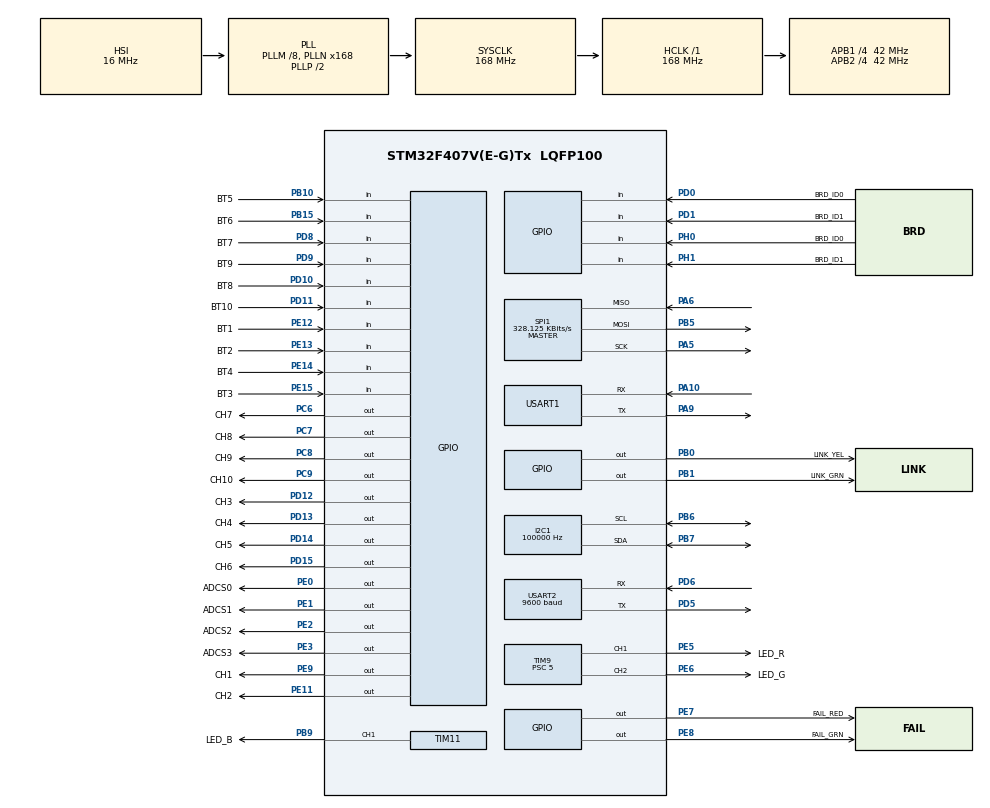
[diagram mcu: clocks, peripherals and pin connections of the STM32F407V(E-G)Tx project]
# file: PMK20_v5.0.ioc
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Dma.I2C1_RX.3.Direction=DMA_PERIPH_TO_MEMORY
Dma.I2C1_RX.3.FIFOMode=DMA_FIFOMODE_DISABLE
Dma.I2C1_RX.3.Instance=DMA1_Stream0
Dma.I2C1_RX.3.MemDataAlignment=DMA_MDATAALIGN_BYTE
Dma.I2C1_RX.3.MemInc=DMA_MINC_ENABLE
Dma.I2C1_RX.3.Mode=DMA_NORMAL
Dma.I2C1_RX.3.PeriphDataAlignment=DMA_PDATAALIGN_BYTE
Dma.I2C1_RX.3.PeriphInc=DMA_PINC_DISABLE
Dma.I2C1_RX.3.Priority=DMA_PRIORITY_HIGH
Dma.I2C1_TX.2.Direction=DMA_MEMORY_TO_PERIPH
Dma.I2C1_TX.2.FIFOMode=DMA_FIFOMODE_DISABLE
Dma.I2C1_TX.2.Instance=DMA1_Stream7
Dma.I2C1_TX.2.MemDataAlignment=DMA_MDATAALIGN_BYTE
Dma.I2C1_TX.2.MemInc=DMA_MINC_ENABLE
Dma.I2C1_TX.2.Mode=DMA_NORMAL
Dma.I2C1_TX.2.PeriphDataAlignment=DMA_PDATAALIGN_BYTE
Dma.I2C1_TX.2.PeriphInc=DMA_PINC_DISABLE
Dma.I2C1_TX.2.Priority=DMA_PRIORITY_HIGH
Dma.Request0=USART2_RX
Dma.Request1=USART2_TX
Dma.Request2=I2C1_TX
Dma.Request3=I2C1_RX
Dma.USART2_RX.0.Direction=DMA_PERIPH_TO_MEMORY
Dma.USART2_RX.0.FIFOMode=DMA_FIFOMODE_DISABLE
Dma.USART2_RX.0.Instance=DMA1_Stream5
Dma.USART2_RX.0.MemDataAlignment=DMA_MDATAALIGN_BYTE
Dma.USART2_RX.0.MemInc=DMA_MINC_ENABLE
Dma.USART2_RX.0.Mode=DMA_NORMAL
Dma.USART2_RX.0.PeriphDataAlignment=DMA_PDATAALIGN_BYTE
Dma.USART2_RX.0.PeriphInc=DMA_PINC_DISABLE
Dma.USART2_RX.0.Priority=DMA_PRIORITY_LOW
Dma.USART2_TX.1.Direction=DMA_MEMORY_TO_PERIPH
Dma.USART2_TX.1.FIFOMode=DMA_FIFOMODE_DISABLE
Dma.USART2_TX.1.Instance=DMA1_Stream6
Dma.USART2_TX.1.MemDataAlignment=DMA_MDATAALIGN_BYTE
Dma.USART2_TX.1.MemInc=DMA_MINC_ENABLE
Dma.USART2_TX.1.Mode=DMA_NORMAL
Dma.USART2_TX.1.PeriphDataAlignment=DMA_PDATAALIGN_BYTE
Dma.USART2_TX.1.PeriphInc=DMA_PINC_DISABLE
Dma.USART2_TX.1.Priority=DMA_PRIORITY_LOW
I2C1.ClockSpeed=100000
I2C1.GeneralCallMode=I2C_GENERALCALL_DISABLE
I2C1.NoStretchMode=I2C_NOSTRETCH_DISABLE
I2C1.OwnAddress=0x01
IWDG.Prescaler=IWDG_PRESCALER_256
IWDG.Reload=0xfff
Mcu.Family=STM32F4
Mcu.Name=STM32F407V(E-G)Tx
Mcu.Package=LQFP100
NVIC.DMA1_Stream0_IRQn=true\:0\:0\:false\:false\:true\:false\:true\:true
NVIC.DMA1_Stream5_IRQn=true\:0\:0\:false\:false\:true\:false\:true\:true
NVIC.DMA1_Stream6_IRQn=true\:0\:0\:false\:false\:true\:false\:true\:true
NVIC.DMA1_Stream7_IRQn=true\:0\:0\:false\:false\:true\:false\:true\:true
NVIC.I2C1_ER_IRQn=true\:0\:0\:false\:false\:true\:true\:true\:true
NVIC.I2C1_EV_IRQn=true\:0\:0\:false\:false\:true\:true\:true\:true
NVIC.PriorityGroup=NVIC_PRIORITYGROUP_4
NVIC.TIM1_CC_IRQn=true\:2\:0\:true\:false\:true\:true\:true\:true
NVIC.TIM1_UP_TIM10_IRQn=true\:2\:0\:true\:false\:true\:true\:true\:true
NVIC.TIM6_DAC_IRQn=true\:0\:0\:false\:false\:true\:true\:true\:true
NVIC.TIM7_IRQn=true\:0\:0\:false\:false\:true\:true\:true\:true
NVIC.TIM8_TRG_COM_TIM14_IRQn=true\:2\:0\:true\:false\:true\:true\:true\:true
NVIC.USART2_IRQn=true\:0\:0\:false\:false\:true\:true\:true\:true
PA10.GPIO_PuPd=GPIO_PULLUP
PA10.GPIO_Speed=GPIO_SPEED_FREQ_HIGH
PA10.Mode=Asynchronous
PA10.Signal=USART1_RX
PA13.Mode=Trace_Asynchronous_SW
PA13.Signal=SYS_JTMS-SWDIO
PA14.Mode=Trace_Asynchronous_SW
PA14.Signal=SYS_JTCK-SWCLK
PA5.Mode=Full_Duplex_Master
PA5.Signal=SPI1_SCK
PA6.Mode=Full_Duplex_Master
PA6.Signal=SPI1_MISO
PA9.GPIO_PuPd=GPIO_PULLUP
PA9.GPIO_Speed=GPIO_SPEED_FREQ_HIGH
PA9.Mode=Asynchronous
PA9.Signal=USART1_TX
PB0.GPIO_Label=LINK_YEL
PB0.GPIO_Speed=GPIO_SPEED_FREQ_VERY_HIGH
PB0.Signal=GPIO_Output
PB1.GPIO_Label=LINK_GRN
PB1.GPIO_Speed=GPIO_SPEED_FREQ_VERY_HIGH
PB1.Signal=GPIO_Output
PB10.GPIO_Label=BT5
PB10.Signal=GPIO_Input
PB15.GPIO_Label=BT6
PB15.Signal=GPIO_Input
PB3.Mode=Trace_Asynchronous_SW
PB3.Signal=SYS_JTDO-SWO
PB5.Mode=Full_Duplex_Master
PB5.Signal=SPI1_MOSI
PB6.GPIO_Pu=GPIO_NOPULL
PB6.Mode=I2C
PB6.Signal=I2C1_SCL
PB7.GPIO_Pu=GPIO_NOPULL
PB7.Mode=I2C
PB7.Signal=I2C1_SDA
PB9.GPIO_Label=LED_B
PB9.GPIO_ModeDefaultPP=GPIO_MODE_AF_OD
PB9.GPIO_Speed=GPIO_SPEED_FREQ_MEDIUM
PB9.Signal=S_TIM11_CH1
PC6.GPIO_Label=CH7
PC6.Signal=GPIO_Output
PC7.GPIO_Label=CH8
PC7.Signal=GPIO_Output
PC8.GPIO_Label=CH9
PC8.Signal=GPIO_Output
PC9.GPIO_Label=CH10
PC9.Signal=GPIO_Output
PD0.GPIO_Label=BRD_ID0
PD0.GPIO_PuPd=GPIO_NOPULL
PD0.Signal=GPIO_Input
PD1.GPIO_Label=BRD_ID1
PD1.GPIO_PuPd=GPIO_NOPULL
PD1.Signal=GPIO_Input
PD10.GPIO_Label=BT8
PD10.Signal=GPIO_Input
PD11.GPIO_Label=BT10
PD11.Signal=GPIO_Input
PD12.GPIO_Label=CH3
PD12.Signal=GPIO_Output
PD13.GPIO_Label=CH4
PD13.Signal=GPIO_Output
PD14.GPIO_Label=CH5
PD14.Signal=GPIO_Output
PD15.GPIO_Label=CH6
PD15.Signal=GPIO_Output
PD5.GPIO_PuPd=GPIO_PULLDOWN
PD5.Mode=Asynchronous
PD5.Signal=USART2_TX
PD6.GPIO_PuPd=GPIO_PULLDOWN
PD6.Mode=Asynchronous
PD6.Signal=USART2_RX
PD8.GPIO_Label=BT7
PD8.Signal=GPIO_Input
PD9.GPIO_Label=BT9
PD9.Signal=GPIO_Input
PE0.GPIO_Label=ADCS0
PE0.GPIO_PuPd=GPIO_PULLUP
PE0.Signal=GPIO_Output
PE1.GPIO_Label=ADCS1
PE1.GPIO_PuPd=GPIO_PULLUP
PE1.Signal=GPIO_Output
PE11.GPIO_Label=CH2
PE11.Signal=GPIO_Output
PE12.GPIO_Label=BT1
PE12.GPIO_PuPd=GPIO_PULLDOWN
PE12.Signal=GPIO_Input
PE13.GPIO_Label=BT2
PE13.GPIO_PuPd=GPIO_PULLDOWN
PE13.Signal=GPIO_Input
PE14.GPIO_Label=BT4
PE14.GPIO_PuPd=GPIO_PULLDOWN
PE14.Signal=GPIO_Input
PE15.GPIO_Label=BT3
PE15.GPIO_PuPd=GPIO_PULLDOWN
PE15.Signal=GPIO_Input
PE2.GPIO_Label=ADCS2
PE2.GPIO_PuPd=GPIO_PULLUP
PE2.Signal=GPIO_Output
PE3.GPIO_Label=ADCS3
PE3.GPIO_PuPd=GPIO_PULLUP
PE3.Signal=GPIO_Output
PE5.GPIO_Label=LED_R
PE5.GPIO_ModeDefaultPP=GPIO_MODE_AF_OD
PE5.GPIO_Speed=GPIO_SPEED_FREQ_MEDIUM
PE5.Signal=S_TIM9_CH1
PE6.GPIO_Label=LED_G
PE6.GPIO_ModeDefaultPP=GPIO_MODE_AF_OD
PE6.GPIO_Speed=GPIO_SPEED_FREQ_MEDIUM
PE6.Signal=S_TIM9_CH2
PE7.GPIO_Label=FAIL_RED
PE7.GPIO_PuPd=GPIO_PULLDOWN
PE7.GPIO_Speed=GPIO_SPEED_FREQ_LOW
PE7.Signal=GPIO_Output
PE8.GPIO_Label=FAIL_GRN
PE8.GPIO_PuPd=GPIO_PULLDOWN
PE8.GPIO_Speed=GPIO_SPEED_FREQ_LOW
PE8.Signal=GPIO_Output
PE9.GPIO_Label=CH1
PE9.Signal=GPIO_Output
PH0-OSC_IN.GPIO_Label=BRD_ID0
PH0-OSC_IN.Signal=GPIO_Input
PH1-OSC_OUT.GPIO_Label=BRD_ID1
PH1-OSC_OUT.Signal=GPIO_Input
ProjectManager.HeapSize=0x200
ProjectManager.StackSize=0x400
ProjectManager.TargetToolchain=MDK-ARM V5.32
RCC.48MHZClocksFreq_Value=84000000
RCC.AHBFreq_Value=168000000
RCC.APB1CLKDivider=RCC_HCLK_DIV4
RCC.APB1Freq_Value=42000000
RCC.APB1TimFreq_Value=84000000
RCC.APB2CLKDivider=RCC_HCLK_DIV4
RCC.APB2Freq_Value=42000000
RCC.APB2TimFreq_Value=84000000
RCC.CortexFreq_Value=168000000
RCC.HCLKFreq_Value=168000000
RCC.HSE_VALUE=25000000
RCC.HSI_VALUE=16000000
RCC.LSE_VALUE=32768
RCC.PLLM=8
RCC.PLLN=168
RCC.SYSCLKFreq_VALUE=168000000
RCC.SYSCLKSource=RCC_SYSCLKSOURCE_PLLCLK
RCC.VCOOutputFreq_Value=336000000
SH.S_TIM11_CH1.0=TIM11_CH1,PWM Generation1 CH1
SH.S_TIM9_CH1.0=TIM9_CH1,PWM Generation1 CH1
SH.S_TIM9_CH2.0=TIM9_CH2,PWM Generation2 CH2
SPI1.BaudRatePrescaler=SPI_BAUDRATEPRESCALER_128
SPI1.CalculateBaudRate=328.125 KBits/s
SPI1.Direction=SPI_DIRECTION_2LINES
SPI1.Mode=SPI_MODE_MASTER
SPI1.VirtualType=VM_MASTER
TIM1.Channel-Output\ Compare1\ No\ Output=TIM_CHANNEL_1
TIM1.Period=12799
TIM1.Prescaler=5
TIM10.Period=2625
TIM10.Prescaler=15
TIM11.Channel=TIM_CHANNEL_1
TIM11.OCPolarity_1=TIM_OCPOLARITY_LOW
TIM11.Period=255
TIM11.Prescaler=5
TIM14.Period=52500
TIM14.Prescaler=15
TIM6.Period=5250
TIM6.Prescaler=15
TIM7.Period=80
TIM7.Prescaler=1600
TIM9.Channel-PWM\ Generation1\ CH1=TIM_CHANNEL_1
TIM9.Channel-PWM\ Generation2\ CH2=TIM_CHANNEL_2
TIM9.OCPolarity_1=TIM_OCPOLARITY_LOW
TIM9.OCPolarity_2=TIM_OCPOLARITY_LOW
TIM9.Period=255
TIM9.Prescaler=5
USART1.VirtualMode=VM_ASYNC
USART2.BaudRate=9600
USART2.VirtualMode=VM_ASYNC
VP_CRC_VS_CRC.Mode=CRC_Activate
VP_IWDG_VS_IWDG.Mode=IWDG_Activate
VP_TIM10_VS_ClockSourceINT.Mode=Enable_Timer
VP_TIM11_VS_ClockSourceINT.Mode=Enable_Timer
VP_TIM14_VS_ClockSourceINT.Mode=Enable_Timer
VP_TIM1_VS_no_output1.Mode=Output Compare1 No Output
VP_TIM6_VS_ClockSourceINT.Mode=Enable_Timer
VP_TIM7_VS_ClockSourceINT.Mode=Enable_Timer
board=custom

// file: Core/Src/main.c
/* USER CODE BEGIN Header */
/**
  ******************************************************************************
  * @file           : main.c
  * @brief          : Main program body
  ******************************************************************************
  * @attention
  *
  * Copyright (c) 2023 STMicroelectronics.
  * All rights reserved.
  *
  * This software is licensed under terms that can be found in the LICENSE file
  * in the root directory of this software component.
  * If no LICENSE file comes with this software, it is provided AS-IS.
  *
  ******************************************************************************
  */
/* USER CODE END Header */
#include "main.h"

/* USER CODE BEGIN Includes */
#include "MY_FLASH.h"
#include "MD_5.h"
#include "string.h"
/* USER CODE END Includes */

/* USER CODE BEGIN PTD */
 uint16_t current = 0; // счетчик
 uint8_t rer[100];
 uint8_t arr[168];
 uint8_t mbInput[16]; // Массив входных данных modbus
 uint8_t lenMBrx;
 uint8_t mbAddr;
 uint8_t i2cAddr;
 uint16_t crcTx;
 _Bool arrBool[0x400];
	_Bool arrBoolTemp[100];
	uint16_t arrWord[0x400];
	uint16_t arrWord_minus[0x400];
	uint16_t arrWordBipol[0x400];
	_Bool arrBoolBipol[0x400];
 _Bool uartTx;
  _Bool sem; // сигнал о том что посылка modbud принята без ошибок.
  _Bool blockMode; // блокировка записи по modbus в режиме местного упрвления
  _Bool semF; //  посылка по модбасу принята
	uint8_t timePush_Test;
	uint8_t timePush_Test_N;
	_Bool set_set[10]; // запись уставок по первому сигналу
	uint16_t setPoint[100];
	//MODE
//	uint8_t mode;// test
uint8_t PMU_Mode;
int16_t blink; // для выбора режима упрвления мигание
 _chlMode cTime[10]; // переменная для определения времени нажатия кнопок каждого канала
  uint8_t chMode[10]; // режим мониторинга кабеля
	uint8_t chModeTemp[10];// заглушка
	// CPU ID
	long itr00;
	volatile uint32_t *UniqueID = (uint32_t *)0x1FFF7A10;
	volatile uint32_t __UniqueID[3];
	volatile extern uint8_t test_Status;
	uint16_t errorCounter;
	_Bool ttr = 0; // Блокировка при записи в Флеш память
		HAL_StatusTypeDef RTF; // test i2c
		HAL_StatusTypeDef WTF; // test i2c
		_Bool slaveWrData;
		_Bool slaveRdData;
		 int iik;
		uint8_t arrI2c_R[12];

		_Bool i2c_rd = 0;
		_Bool i2c_td = 0;
		uint32_t lanTimer = 0;
		uint8_t hvAllarm = 0;

		uint8_t lanCurr;// cтетчик для индикации работы сети
		_Bool lanLed; // индикатор работы сети ?
		uint16_t lanTemer;
		uint32_t rlanTest;
		_Bool blanTest;

		_Bool stMbAdd[2];

		uint8_t EON_off =1; // когда напряжение смещени 100 В должно быть снято
		_Bool pauseEon;
		_Bool pauseEonM;
		int i_Eon = 0;
		uint8_t modeEon =0;
		uint16_t delayEon = 900;
		uint8_t readyEon;
//		uint8_t modeEon;
		uint8_t timeModeEon = 0;
		_Bool startLokal = 0;
		uint8_t statusMb;
		uint8_t alarm_mes =0;

		float callR[10];
		float tempSet[10];

		// синхронизация I2c с записью флеш памяти
		uint8_t sinM; //
		uint8_t sinT; //
		uint8_t sinR; //
		uint8_t changSetP[10] = {0,0,0,0,0,0,0,0,0,0};
//	uint16_t currentTime; // переменная для выдержки 30 сек не нажата ни одна кнопка
GPIO switch_gpio[10] = {
	{ BT1_GPIO_Port, BT1_Pin },
	{ BT2_GPIO_Port, BT2_Pin },
	{ BT3_GPIO_Port, BT3_Pin },
	{ BT4_GPIO_Port, BT4_Pin },
	{ BT5_GPIO_Port, BT5_Pin },
	{ BT6_GPIO_Port, BT6_Pin },
	{ BT7_GPIO_Port, BT7_Pin },
	{ BT8_GPIO_Port, BT8_Pin },
	{ BT9_GPIO_Port, BT9_Pin },
	{ BT10_GPIO_Port, BT10_Pin }
};

	//plus
uint8_t adc_current =0;
	uint32_t adc_delay = 150;//120;//500; //
	uint32_t  led_rgb[10] = {0, 0, 0, 0, 0, 0, 0, 0, 0, 0};
	float RZ[4];
	int CC; // TEST
	int currentPB =0; //  селекция нажатия кнопки push_Button
	// Flash
		uint8_t data[64];    // test
    uint16_t res[400];		// test
	// monitor CH
	uint8_t ch_monitor[10] = {0, 0, 0, 0, 0, 0, 0, 0, 0, 0};
	int ideley=0;
	int kdeley=0;
	uint8_t tempCh[10];
	_Bool startSett; //  считывание при старте
	//For Skada

	char mBuffer[65535];

	// Ошибка платы
	_Bool pmkError;
	uint16_t adc_Status; // Состояние АЦП

	//gpio
	// md5
	uint32_t CCRC;
	char md5sum;
	char ccrrc;

	uint8_t arrI2c_T[12];

	uint32_t SetEEprom;
	_Bool LoadNumDev;
	struct I2C_Module i2cm;
/* USER CODE END PTD */

CRC_HandleTypeDef hcrc;

I2C_HandleTypeDef hi2c1;
DMA_HandleTypeDef hdma_i2c1_tx;
DMA_HandleTypeDef hdma_i2c1_rx;

IWDG_HandleTypeDef hiwdg;

SPI_HandleTypeDef hspi1;

TIM_HandleTypeDef htim1;
TIM_HandleTypeDef htim6;
TIM_HandleTypeDef htim7;
TIM_HandleTypeDef htim9;
TIM_HandleTypeDef htim10;
TIM_HandleTypeDef htim11;
TIM_HandleTypeDef htim14;

UART_HandleTypeDef huart1;
UART_HandleTypeDef huart2;
DMA_HandleTypeDef hdma_usart2_rx;
DMA_HandleTypeDef hdma_usart2_tx;

void SystemClock_Config(void);
static void MX_GPIO_Init(void);
static void MX_DMA_Init(void);
static void MX_USART2_UART_Init(void);
static void MX_TIM7_Init(void);
static void MX_SPI1_Init(void);
static void MX_TIM9_Init(void);
static void MX_TIM11_Init(void);
static void MX_USART1_UART_Init(void);
static void MX_TIM6_Init(void);
static void MX_TIM1_Init(void);
static void MX_TIM10_Init(void);
static void MX_TIM14_Init(void);
static void MX_CRC_Init(void);
static void MX_I2C1_Init(void);
static void MX_IWDG_Init(void);
/* USER CODE BEGIN PFP */

void HAL_I2C_SlaveTxCpltCallback(I2C_HandleTypeDef *hi2c)
{

//		HAL_IWDG_Refresh(&hiwdg);

		slaveWrData = 0;

//							for (int i=0; i<1000; i++){__ASM("nop");}
							if(sinM ==0)
							{

									RTF = HAL_I2C_Slave_Receive_DMA(&hi2c1, arrI2c_R,12);
									for (int i=0; i<100; i++){__ASM("nop");}

									arrWord[110] = arrI2c_R[1]<<8	| arrI2c_R[2];
									arrWord[111] = arrI2c_R[3]<<8	| arrI2c_R[4];

									if(arrI2c_R[5] == 0xF0){arrWord[114]=0x01FF;}
									else if (arrI2c_R[5] == 0x0F){arrWord[114]=0x05;}
		//							arrWord[114] = arrI2c_R[5]; //<<8	| arrI2c_R[6];
							}
							else
							{
								sinR = 1;
							}
}
void HAL_I2C_SlaveRxCpltCallback(I2C_HandleTypeDef *hi2c)
{

		slaveRdData = 0;

}

void HAL_UART_RxCpltCallback(UART_HandleTypeDef *huart)
{

    if ((huart == &huart2)&(!semF))
    {

		// обработка модбас
     HAL_UART_Receive_DMA(&huart2,(uint8_t*) &rer,1);
    }
  /* Prevent unused argument(s) compilation warning */
  UNUSED(huart);
  /* NOTE: This function should not be modified, when the callback is needed,
           the HAL_UART_RxCpltCallback could be implemented in the user file
   */
};
void HAL_UART_ErrorCallback(UART_HandleTypeDef *huart)
{
		HAL_UART_Receive_DMA(&huart2,(uint8_t*) &rer,1); // Перезапуск при ошибке
}
/* USER CODE END PFP */

int main(void)
{
  /* USER CODE BEGIN 1 */
	i2cm.instance = hi2c1;
	i2cm.sclPin = GPIO_PIN_10;
	i2cm.sclPort = GPIOB;
	i2cm.sdaPin = GPIO_PIN_11;
	i2cm.sdaPort = GPIOB;

		uint8_t tbyte;
		uint64_t flas_length = 0;
		_Bool flas_count = 0;
		uint8_t ff_count =0;

//		tbyte =	*(uint8_t*)0x8000000; // прочитать байты;
	char buffer2[9];
	char md5Vstart;		//[flas_length>>1];
	uint32_t md5Vfinish;    //[flas_length>>1];

//    mbAddr=0x01;
    startSett = 0;
	  MY_FLASH_SetSectorAddrs(11, 0x080E0000);
//    uint8_t data[2048-8];
//    data[0]=0xA5;//serial_number[0];//0x10;
//    data[1]=0xA6;//serial_number[1];//0x34;

/****** Работа с FLASH *****/
	//предустановки

	//Проверяем flash

	 MY_FLASH_ReadN(0,res,400,DATA_TYPE_16);

	if (res[0] != 0xffff)
	{
		MY_FLASH_ReadN (0, arrWord, 400, DATA_TYPE_16);
	}
//    MY_FLASH_WriteN(0,arrWord,40,DATA_TYPE_16); // Запись
//    MY_FLASH_ReadN(0,res,8,DATA_TYPE_8);
	arrBool[20]=1; arrBool[21]=1; arrBool[22]=1;arrBool[23]=1;arrBool[24]=1; arrBool[25]=1; arrBool[26]=1; arrBool[27]=1; arrBool[28]=1; arrBool[29]=1;
  arrBool[30]=1; arrBool[31]=1; arrBool[32]=1;arrBool[33]=1;arrBool[34]=1; arrBool[35]=1; arrBool[36]=1; arrBool[37]=1; arrBool[38]=1; arrBool[39]=1;
	arrBool[40]=1; arrBool[41]=1; arrBool[42]=1;arrBool[43]=1;arrBool[44]=1; arrBool[45]=1; arrBool[46]=1; arrBool[47]=1; arrBool[48]=1; arrBool[49]=1;
	arrBool[50]=1; arrBool[51]=1; arrBool[52]=1;arrBool[53]=1;arrBool[54]=1; arrBool[55]=1; arrBool[56]=1; arrBool[57]=1; arrBool[58]=1; arrBool[59]=1;
	arrBool[110]=1; arrBool[111]=1; arrBool[112]=1;arrBool[113]=1;arrBool[114]=1; arrBool[115]=1; arrBool[116]=1; arrBool[117]=1; arrBool[118]=1; arrBool[119]=1;
	arrBool[120]=1; arrBool[121]=1; arrBool[122]=1;arrBool[123]=1;arrBool[124]=1; arrBool[125]=1; arrBool[126]=1; arrBool[127]=1; arrBool[128]=1; arrBool[129]=1;
	arrBool[130]=1; arrBool[131]=1; arrBool[132]=1;arrBool[133]=1;arrBool[134]=1; arrBool[135]=1; arrBool[136]=1; arrBool[137]=1; arrBool[138]=1; arrBool[139]=1;
	arrBool[160]=1; arrBool[161]=1; arrBool[162]=1;arrBool[163]=1;arrBool[164]=1; arrBool[165]=1; arrBool[166]=1; arrBool[167]=1; arrBool[168]=1; arrBool[169]=1;
	for(int i = 0; i<10 ; i++)
	{
			if ((arrWord[200+i]==0) | (arrWord[200+i] == 0xFFFF))
			{arrWord[200+i]=_setVolt;}
			if((arrWord[i] == 0) | (arrWord[i] == 0xFFFF))
			{
				arrWord[i]=0x1414;
//				arrWord[250 + i] = 0x0A0A; // уставка предупредительной сигнализации по умолчанию

			}
			if((arrWord[250 + i] == 0) | (arrWord[250+i] == 0xFFFF))
				{
					arrWord[250+i] = 0x0A0A;
				}
	}
	arrWord[140]=0;
	arrWord[380]=10;
	arrWord[221] = 0xFC00; // Напряжение -100 В
	arrWord[222] = 0xFC00; // напряжение +100 В
	//ID CPU
	__UniqueID[0] = UniqueID[0];
	__UniqueID[1] = UniqueID[1];
	__UniqueID[2] = UniqueID[2];

	arrWord[100] = __UniqueID[0];
	arrWord[101] = __UniqueID[0]>>16;
	arrWord[102] = __UniqueID[1];
	arrWord[103] = __UniqueID[1]>>16;
	arrWord[104] = __UniqueID[2];
	arrWord[105] = __UniqueID[2]>>16;

	// Версия программы
	arrWord[90] = _version>>16;
	arrWord[91] = (uint16_t)_version;
//	arrWord[92] = 20;
//	arrWord[93] = 01;
// md5

		uint8_t result[16] = {0,0,0,0,0,0,0,0,0,0,0,0,0,0,0,0};

  /* USER CODE END 1 */

  /* MCU Configuration--------------------------------------------------------*/

  /* Reset of all peripherals, Initializes the Flash interface and the Systick. */
  HAL_Init();

  /* Configure the system clock */
  SystemClock_Config();

  /* USER CODE BEGIN SysInit */
	__HAL_RCC_I2C1_CLK_ENABLE();
  HAL_Delay(100);
  __HAL_RCC_I2C1_FORCE_RESET();
  HAL_Delay(100);
  __HAL_RCC_I2C1_RELEASE_RESET();
  HAL_Delay(100);
//	hi2c1.Init.OwnAddress1 = i2cAddr;
  /* USER CODE END SysInit */

  /* Initialize all configured peripherals */
  MX_GPIO_Init();
  MX_DMA_Init();
  MX_USART2_UART_Init();
  MX_TIM7_Init();
  MX_SPI1_Init();
  MX_TIM9_Init();
  MX_TIM11_Init();
  MX_USART1_UART_Init();
  MX_TIM6_Init();
  MX_TIM1_Init();
  MX_TIM10_Init();
  MX_TIM14_Init();
  MX_CRC_Init();
//  MX_I2C1_Init();
  MX_IWDG_Init();
  /* USER CODE BEGIN 2 */
    HAL_UART_Receive_DMA(&huart2,(uint8_t*) &rer,1);

//		HAL_I2C_Slave_Transmit_DMA(&hi2c1,arrI2c, 2);
    HAL_TIM_Base_Start_IT(&htim7);
		HAL_TIM_Base_Start_IT(&htim14);
//		CCRC = pro_CRC();
			stMbAdd[0]=HAL_GPIO_ReadPin(GPIOD, GPIO_PIN_0)!=0;
			stMbAdd[1]=HAL_GPIO_ReadPin(GPIOD, GPIO_PIN_1)!=0;
			i2cAddr = stMbAdd[0]+stMbAdd[1]+1; //230807
//			hi2c1.Init.OwnAddress1 = i2cAddr;

			 MX_I2C1_Init();

		CCRC = HAL_CRC_Calculate(&hcrc, (uint32_t *)0x8000000, 0xE208); //0x40000);
//		md5sum = (uint32_t)CCRC;
		sprintf(buffer2, "%X",CCRC);
		md5String(buffer2,result);

		arChar_to_arrWord(result, arrWord);

		uint8_t switch_state[10] = { 0, 0, 0, 0, 0, 0, 0, 0, 0, 0 };
		ADC_CS(-1); // Выбор АЦП отключен

//	hi2c1.Init.OwnAddress1 = i2cAddr;
//		hi2c1.Devaddress = i2cAddr;
//	MX_I2C1_Init();

	HAL_TIM_PWM_Start_IT(&htim9, TIM_CHANNEL_1);
	HAL_TIM_PWM_Start_IT(&htim9, TIM_CHANNEL_2);
	HAL_TIM_PWM_Start_IT(&htim11, TIM_CHANNEL_1);
	HAL_TIM_Base_Start_IT(&htim1);

	for(int k=0; k<10; k++)
		{
		int b = HAL_GPIO_ReadPin(switch_gpio[k].port, switch_gpio[k].pin) == 0;
		switch_state[k] = b;
		}

	LED_Link(1);
	LED_Fail(1);
	for(int k=0; k<10; k++)
		{
			led_rgb[k] = 0x00001f00;
			HAL_Delay(200);//00);
		}

	LED_Link(2);
	LED_Fail(2);
	for(int k=0; k<10; k++)
		{
			led_rgb[k] = 0x001f0000;
			HAL_Delay(200);//00);
		}

	LED_Link(0);
	LED_Fail(0);
	for(int k=0; k<10; k++)
		{
		led_rgb[k] = 0x0000001f;
		HAL_Delay(200);//00);
		}

	LED_Fail(1);
	for(int k=0; k<10; k++)
		{
			led_rgb[k] = 0x00000000;
			HAL_Delay(100);//00);
		}

		pmkError=0; // Сброс ошибки при перезагрузке

//		arrWord[220] = ADC_Error(0x4F);

		pmkError = 0; // arrWord[220]!= 0;//230721

		if (pmkError)
		{arrWord[140]=arrWord[140]|0x1;}
		else
		{arrWord[140]=arrWord[140]&0xFE;}

		 HAL_IWDG_Refresh(&hiwdg);

//		ADC_CS(0);
//		adc_Status = ADC_Status();

			HAL_TIM_Base_Start_IT(&htim10);

		i2c_rd = 1;
//			HAL_TIM_Base_Start_IT(&htim14);
		//Проверка состояния 10 АЦП по ID Общая

//		ADC_CS(0);
//		timePush_Test_N = ADC_readID();

  /* USER CODE END 2 */

  /* Infinite loop */
  /* USER CODE BEGIN WHILE */
  while (1)
	{
//		HAL_IWDG_Refresh(&hiwdg);
//		arrWord[145] = modeEon;

		for(adc_current=0; adc_current<11; adc_current++)
		{
			arrWord[220] = ADC_Error(0x4F);
			HAL_IWDG_Refresh(&hiwdg);

			if (adc_current < 10)
			{

				if (PMU_Mode==2)//230722
				{
					preset_V(); // Предустановка с запиью параметров в Флеш
				}

				ADC_CS(adc_current);
				ADC_reset();
//				ADC_measureVolt(adc_current,arrWord,arrBool);
				if (startSett) // запуск прошел
				{
					if(arrWord[40+adc_current]==0)
						{
							arrBool[20+adc_current]=1;
							arrBool[30+adc_current]=1;
							arrBool[40+adc_current]=1;
							arrBool[50+adc_current]=1;
							arrBool[110+adc_current]=1;
							arrBool[120+adc_current]=1;
							arrBool[130+adc_current]=1;
							arrBool[140+adc_current]=0;
							arrBool[150+adc_current]=0;
							arrBool[160+adc_current]=1;

//							ADC_measure(adc_current, arrWord, arrBoolTemp, startSett);
//							set_set[adc_current] = 1;
						}
//						else if ((arrWord[40+adc_current]!=0)&
//										(arrWord[40+adc_current]!=1)&
//										(arrWord[40+adc_current]!=3)&
//										(arrWord[40+adc_current]!=4)&
//										(arrWord[40+adc_current]!=5))
//
//						{

							{
								arrBool[200] = 1;
								switch (modeEon)
              {
              	case 0:

              		break;
              	case 1:
										ADC_measureVolt(adc_current,arrWord,arrBool);
              		break;
								case 2:
									break;
								case 3:
									break;
								case 4:
										ADC_measure_minus(adc_current, arrWordBipol,arrBoolTemp);
									break;
								case 5:
										for(int i = 0; i<10;i++)
										{
											arrWord[170+i] = arrWordBipol[170+i]; // сопротивление изоляции 1 при - смещении
											arrWord[180+i] = arrWordBipol[180+i]; // сопротивление изоляции 2 при - смещении
											arrWord[140] = arrWordBipol[140];
											arrWord[221] = arrWordBipol[221];
											arrWord[222] = arrWordBipol[222];
										}
									break;
								case 6:
								break;
								case 7:
								break;
								case 8:
									ADC_measure_plus(adc_current,arrWordBipol, arrBoolBipol);
									break;
								case 9:
									for(int i = 0; i<10;i++)
									{
										arrWord[70+i] = arrWordBipol[70+i]; // сопротивление шлейфа
										arrBool[40+i] = arrBoolBipol[40+i]; // авария сопротивления шлейфа вниз
										arrBool[50+i] = arrBoolBipol[50+i]; // авария сопротивления шлейфа вврех

										arrWord[50+i] = arrWordBipol[50+i]; // сопротивление изоляции 1
										arrBool[20+i] = arrBoolBipol[20+i]; // авария изоляции 1

										arrWord[60+i] = arrWordBipol[60+i]; // сопротивление изоляции 2
										arrBool[30+i] = arrBoolBipol[30+i]; // авария изоляции 2

										arrWord[150+i] = arrWordBipol[150+i];
										arrWord[160+i] = arrWordBipol[160+i];

										arrBool[110 +i] = arrBoolBipol[110+i]; // Предупреждение изоляции 1
										arrBool[120 +i] = arrBoolBipol[120+i]; // Предупреждение изоляции 2
										arrBool[130 +i] = arrBoolBipol[130+i]; // Предупреждение шлейфа вниз
										arrBool[160 +i] = arrBoolBipol[160+i]; // Предупреждение шлейфа вверх

										arrWord[140] = arrWordBipol[140];
										arrWord[221] = arrWordBipol[221];
										arrWord[222] = arrWordBipol[222];
									}
									break;
								case 10:
									break;
              	default:
              		break;
              }

							}
//						}
						if ((arrWord[40+adc_current]==1)|(arrWord[40+adc_current]==3)|(arrWord[40+adc_current]==4)|(arrWord[40+adc_current]==5)|(arrWord[40+adc_current]==9))
						{
							arrBool[adc_current+20]=1;
							arrBool[adc_current+30]=1;
							arrBool[adc_current+40]=1;
							arrBool[adc_current+50]=1;
//							arrBool[100 + adc_current]=0;
							arrBool[110 + adc_current] = 1; // Предупреждение Riz1
							arrBool[120 + adc_current] = 1; // Предупреждение Riz2
							arrBool[130 + adc_current] = 1; // Предупреждение Rloop вниз
							arrBool[160 +	adc_current] = 1; // Предупреждение шлейфа вверх

							//							ADC_measure(adc_current, arrWord, arrBoolTemp, startSett); // монитринг только включеных калалов
						}
				}
				else  // идет процесс старта
				{
					if (modeEon==1)
							{
							startLokal=1;
							}
					if (startLokal ==1)
					{
						arrBool[200] = 0;
					switch (modeEon)
              {
              	case 0:
              		break;
              	case 1:
										ADC_measureVolt(adc_current,arrWord,arrBool);
              		break;
								case 2:
									break;
								case 3:
									break;
								case 4:
										ADC_measure_minus(adc_current, arrWordBipol,arrBoolTemp);
									break;
								case 5:
										for(int i = 0; i<10;i++)
										{
											if(	arrWord[40+i]	==9){arrWord[40+i]=0;}	// 	отмена режима при перезагрузке
											arrWord[170+i] = arrWordBipol[170+i]; // сопротивление изоляции 1 при - смещении
											arrWord[180+i] = arrWordBipol[180+i]; // сопротивление изоляции 2 при - смещении
											arrWord[140] = arrWordBipol[140];
											arrWord[221] = arrWordBipol[221];
											arrWord[222] = arrWordBipol[222];
										}
									break;
								case 6:
								break;
								case 7:
								break;
								case 8:
									ADC_measure_plus(adc_current, arrWordBipol, arrBoolBipol);
									break;
								case 9:
									for(int i = 0; i<10;i++)
									{
										arrWord[70+i] = arrWordBipol[70+i]; // сопротивление шлейфа
										arrBool[40+i] = arrBoolBipol[40+i]; // авария сопротивления шлейфа вниз
										arrBool[50+i] = arrBoolBipol[50+i]; // авария сопротивления шлейфа вврех

										arrWord[50+i] = arrWordBipol[50+i]; // сопротивление изоляции 1
										arrBool[20+i] = arrBoolBipol[20+i]; // авария изоляции 1

										arrWord[60+i] = arrWordBipol[60+i]; // сопротивление изоляции 2
										arrBool[30+i] = arrBoolBipol[30+i]; // авария изоляции 2

										arrWord[150+i] = arrWordBipol[150+i];
										arrWord[160+i] = arrWordBipol[160+i];

										arrBool[110 +i] = arrBoolBipol[110+i]; // Предупреждение изоляции 1
										arrBool[120 +i] = arrBoolBipol[120+i]; // Предупреждение изоляции 2
										arrBool[130 +i] = arrBoolBipol[130+i]; // Предупреждение шлейфа вниз
										arrBool[160 +i] = arrBoolBipol[160+i]; // Предупреждение шлейфа вверх

										arrWord[140] = arrWordBipol[140];
										arrWord[221] = arrWordBipol[221];
										arrWord[222] = arrWordBipol[222];

									}
//									timeModeEon = 1;
									break;
								case 10:
									timeModeEon = 1;
									break;

              	default:
              		break;
              }
						}

				}
				ADC_CS(-1);
			}
			if  ((timeModeEon ==1) & (startSett==0) & (modeEon == 0))    //((adc_current ==0) & (startSett==0) & (modeEon == 3))
			{
				startSett = 1;
				timeModeEon = 0;
			}

			}
		}

    /* USER CODE END WHILE */

}

void SystemClock_Config(void)
{
  RCC_OscInitTypeDef RCC_OscInitStruct = {0};
  RCC_ClkInitTypeDef RCC_ClkInitStruct = {0};

  /** Configure the main internal regulator output voltage
  */
  __HAL_RCC_PWR_CLK_ENABLE();
  __HAL_PWR_VOLTAGESCALING_CONFIG(PWR_REGULATOR_VOLTAGE_SCALE1);

  /** Initializes the RCC Oscillators according to the specified parameters
  * in the RCC_OscInitTypeDef structure.
  */
  RCC_OscInitStruct.OscillatorType = RCC_OSCILLATORTYPE_HSI|RCC_OSCILLATORTYPE_LSI;
  RCC_OscInitStruct.HSIState = RCC_HSI_ON;
  RCC_OscInitStruct.HSICalibrationValue = RCC_HSICALIBRATION_DEFAULT;
  RCC_OscInitStruct.LSIState = RCC_LSI_ON;
  RCC_OscInitStruct.PLL.PLLState = RCC_PLL_ON;
  RCC_OscInitStruct.PLL.PLLSource = RCC_PLLSOURCE_HSI;
  RCC_OscInitStruct.PLL.PLLM = 8;
  RCC_OscInitStruct.PLL.PLLN = 168;
  RCC_OscInitStruct.PLL.PLLP = RCC_PLLP_DIV2;
  RCC_OscInitStruct.PLL.PLLQ = 4;
  if (HAL_RCC_OscConfig(&RCC_OscInitStruct) != HAL_OK)
  {
    Error_Handler();
  }

  /** Initializes the CPU, AHB and APB buses clocks
  */
  RCC_ClkInitStruct.ClockType = RCC_CLOCKTYPE_HCLK|RCC_CLOCKTYPE_SYSCLK
                              |RCC_CLOCKTYPE_PCLK1|RCC_CLOCKTYPE_PCLK2;
  RCC_ClkInitStruct.SYSCLKSource = RCC_SYSCLKSOURCE_PLLCLK;
  RCC_ClkInitStruct.AHBCLKDivider = RCC_SYSCLK_DIV1;
  RCC_ClkInitStruct.APB1CLKDivider = RCC_HCLK_DIV4;
  RCC_ClkInitStruct.APB2CLKDivider = RCC_HCLK_DIV4;

  if (HAL_RCC_ClockConfig(&RCC_ClkInitStruct, FLASH_LATENCY_5) != HAL_OK)
  {
    Error_Handler();
  }
}

static void MX_CRC_Init(void)
{

  hcrc.Instance = CRC;
  if (HAL_CRC_Init(&hcrc) != HAL_OK)
  {
    Error_Handler();
  }

}

static void MX_I2C1_Init(void)
{

  hi2c1.Instance = I2C1;
  hi2c1.Init.ClockSpeed = 100000;
  hi2c1.Init.DutyCycle = I2C_DUTYCYCLE_2;
  hi2c1.Init.OwnAddress1 = i2cAddr<<1;
  hi2c1.Init.AddressingMode = I2C_ADDRESSINGMODE_7BIT;
  hi2c1.Init.DualAddressMode = I2C_DUALADDRESS_DISABLE;
  hi2c1.Init.OwnAddress2 = 0;
  hi2c1.Init.GeneralCallMode = I2C_GENERALCALL_DISABLE;
  hi2c1.Init.NoStretchMode = I2C_NOSTRETCH_DISABLE;
  if (HAL_I2C_Init(&hi2c1) != HAL_OK)
  {
    Error_Handler();
  }

}

static void MX_IWDG_Init(void)
{

  hiwdg.Instance = IWDG;
  hiwdg.Init.Prescaler = IWDG_PRESCALER_256;
  hiwdg.Init.Reload = 0xfff;
  if (HAL_IWDG_Init(&hiwdg) != HAL_OK)
  {
    Error_Handler();
  }

}

static void MX_SPI1_Init(void)
{

  /* SPI1 parameter configuration*/
  hspi1.Instance = SPI1;
  hspi1.Init.Mode = SPI_MODE_MASTER;
  hspi1.Init.Direction = SPI_DIRECTION_2LINES;
  hspi1.Init.DataSize = SPI_DATASIZE_8BIT;
  hspi1.Init.CLKPolarity = SPI_POLARITY_LOW;
  hspi1.Init.CLKPhase = SPI_PHASE_1EDGE;
  hspi1.Init.NSS = SPI_NSS_SOFT;
  hspi1.Init.BaudRatePrescaler = SPI_BAUDRATEPRESCALER_128;
  hspi1.Init.FirstBit = SPI_FIRSTBIT_MSB;
  hspi1.Init.TIMode = SPI_TIMODE_DISABLE;
  hspi1.Init.CRCCalculation = SPI_CRCCALCULATION_DISABLE;
  hspi1.Init.CRCPolynomial = 10;
  if (HAL_SPI_Init(&hspi1) != HAL_OK)
  {
    Error_Handler();
  }

}

static void MX_TIM1_Init(void)
{

  TIM_MasterConfigTypeDef sMasterConfig = {0};
  TIM_OC_InitTypeDef sConfigOC = {0};
  TIM_BreakDeadTimeConfigTypeDef sBreakDeadTimeConfig = {0};

  htim1.Instance = TIM1;
  htim1.Init.Prescaler = 5;
  htim1.Init.CounterMode = TIM_COUNTERMODE_UP;
  htim1.Init.Period = 12799;
  htim1.Init.ClockDivision = TIM_CLOCKDIVISION_DIV1;
  htim1.Init.RepetitionCounter = 0;
  htim1.Init.AutoReloadPreload = TIM_AUTORELOAD_PRELOAD_DISABLE;
  if (HAL_TIM_OC_Init(&htim1) != HAL_OK)
  {
    Error_Handler();
  }
  sMasterConfig.MasterOutputTrigger = TIM_TRGO_RESET;
  sMasterConfig.MasterSlaveMode = TIM_MASTERSLAVEMODE_DISABLE;
  if (HAL_TIMEx_MasterConfigSynchronization(&htim1, &sMasterConfig) != HAL_OK)
  {
    Error_Handler();
  }
  sConfigOC.OCMode = TIM_OCMODE_TIMING;
  sConfigOC.Pulse = 0;
  sConfigOC.OCPolarity = TIM_OCPOLARITY_HIGH;
  sConfigOC.OCNPolarity = TIM_OCNPOLARITY_HIGH;
  sConfigOC.OCFastMode = TIM_OCFAST_DISABLE;
  sConfigOC.OCIdleState = TIM_OCIDLESTATE_RESET;
  sConfigOC.OCNIdleState = TIM_OCNIDLESTATE_RESET;
  if (HAL_TIM_OC_ConfigChannel(&htim1, &sConfigOC, TIM_CHANNEL_1) != HAL_OK)
  {
    Error_Handler();
  }
  sBreakDeadTimeConfig.OffStateRunMode = TIM_OSSR_DISABLE;
  sBreakDeadTimeConfig.OffStateIDLEMode = TIM_OSSI_DISABLE;
  sBreakDeadTimeConfig.LockLevel = TIM_LOCKLEVEL_OFF;
  sBreakDeadTimeConfig.DeadTime = 0;
  sBreakDeadTimeConfig.BreakState = TIM_BREAK_DISABLE;
  sBreakDeadTimeConfig.BreakPolarity = TIM_BREAKPOLARITY_HIGH;
  sBreakDeadTimeConfig.AutomaticOutput = TIM_AUTOMATICOUTPUT_DISABLE;
  if (HAL_TIMEx_ConfigBreakDeadTime(&htim1, &sBreakDeadTimeConfig) != HAL_OK)
  {
    Error_Handler();
  }

}

static void MX_TIM6_Init(void)
{

  TIM_MasterConfigTypeDef sMasterConfig = {0};

  htim6.Instance = TIM6;
  htim6.Init.Prescaler = 15;
  htim6.Init.CounterMode = TIM_COUNTERMODE_UP;
  htim6.Init.Period = 5250;
  htim6.Init.AutoReloadPreload = TIM_AUTORELOAD_PRELOAD_DISABLE;
  if (HAL_TIM_Base_Init(&htim6) != HAL_OK)
  {
    Error_Handler();
  }
  sMasterConfig.MasterOutputTrigger = TIM_TRGO_RESET;
  sMasterConfig.MasterSlaveMode = TIM_MASTERSLAVEMODE_DISABLE;
  if (HAL_TIMEx_MasterConfigSynchronization(&htim6, &sMasterConfig) != HAL_OK)
  {
    Error_Handler();
  }

}

static void MX_TIM7_Init(void)
{

  TIM_MasterConfigTypeDef sMasterConfig = {0};

  htim7.Instance = TIM7;
  htim7.Init.Prescaler = 1600;
  htim7.Init.CounterMode = TIM_COUNTERMODE_UP;
  htim7.Init.Period = 80;
  htim7.Init.AutoReloadPreload = TIM_AUTORELOAD_PRELOAD_DISABLE;
  if (HAL_TIM_Base_Init(&htim7) != HAL_OK)
  {
    Error_Handler();
  }
  sMasterConfig.MasterOutputTrigger = TIM_TRGO_RESET;
  sMasterConfig.MasterSlaveMode = TIM_MASTERSLAVEMODE_DISABLE;
  if (HAL_TIMEx_MasterConfigSynchronization(&htim7, &sMasterConfig) != HAL_OK)
  {
    Error_Handler();
  }

}

static void MX_TIM9_Init(void)
{

  TIM_OC_InitTypeDef sConfigOC = {0};

  htim9.Instance = TIM9;
  htim9.Init.Prescaler = 5;
  htim9.Init.CounterMode = TIM_COUNTERMODE_UP;
  htim9.Init.Period = 255;
  htim9.Init.ClockDivision = TIM_CLOCKDIVISION_DIV1;
  htim9.Init.AutoReloadPreload = TIM_AUTORELOAD_PRELOAD_DISABLE;
  if (HAL_TIM_PWM_Init(&htim9) != HAL_OK)
  {
    Error_Handler();
  }
  sConfigOC.OCMode = TIM_OCMODE_PWM1;
  sConfigOC.Pulse = 0;
  sConfigOC.OCPolarity = TIM_OCPOLARITY_LOW;
  sConfigOC.OCFastMode = TIM_OCFAST_DISABLE;
  if (HAL_TIM_PWM_ConfigChannel(&htim9, &sConfigOC, TIM_CHANNEL_1) != HAL_OK)
  {
    Error_Handler();
  }
  if (HAL_TIM_PWM_ConfigChannel(&htim9, &sConfigOC, TIM_CHANNEL_2) != HAL_OK)
  {
    Error_Handler();
  }
  HAL_TIM_MspPostInit(&htim9);

}

static void MX_TIM10_Init(void)
{

  htim10.Instance = TIM10;
  htim10.Init.Prescaler = 15;
  htim10.Init.CounterMode = TIM_COUNTERMODE_UP;
  htim10.Init.Period = 2625;
  htim10.Init.ClockDivision = TIM_CLOCKDIVISION_DIV1;
  htim10.Init.AutoReloadPreload = TIM_AUTORELOAD_PRELOAD_DISABLE;
  if (HAL_TIM_Base_Init(&htim10) != HAL_OK)
  {
    Error_Handler();
  }

}

static void MX_TIM11_Init(void)
{

  TIM_OC_InitTypeDef sConfigOC = {0};

  htim11.Instance = TIM11;
  htim11.Init.Prescaler = 5;
  htim11.Init.CounterMode = TIM_COUNTERMODE_UP;
  htim11.Init.Period = 255;
  htim11.Init.ClockDivision = TIM_CLOCKDIVISION_DIV1;
  htim11.Init.AutoReloadPreload = TIM_AUTORELOAD_PRELOAD_DISABLE;
  if (HAL_TIM_Base_Init(&htim11) != HAL_OK)
  {
    Error_Handler();
  }
  if (HAL_TIM_PWM_Init(&htim11) != HAL_OK)
  {
    Error_Handler();
  }
  sConfigOC.OCMode = TIM_OCMODE_PWM1;
  sConfigOC.Pulse = 0;
  sConfigOC.OCPolarity = TIM_OCPOLARITY_LOW;
  sConfigOC.OCFastMode = TIM_OCFAST_DISABLE;
  if (HAL_TIM_PWM_ConfigChannel(&htim11, &sConfigOC, TIM_CHANNEL_1) != HAL_OK)
  {
    Error_Handler();
  }
  HAL_TIM_MspPostInit(&htim11);

}

static void MX_TIM14_Init(void)
{

  htim14.Instance = TIM14;
  htim14.Init.Prescaler = 15;
  htim14.Init.CounterMode = TIM_COUNTERMODE_UP;
  htim14.Init.Period = 52500;
  htim14.Init.ClockDivision = TIM_CLOCKDIVISION_DIV1;
  htim14.Init.AutoReloadPreload = TIM_AUTORELOAD_PRELOAD_DISABLE;
  if (HAL_TIM_Base_Init(&htim14) != HAL_OK)
  {
    Error_Handler();
  }

}

static void MX_USART1_UART_Init(void)
{

  huart1.Instance = USART1;
  huart1.Init.BaudRate = 115200;
  huart1.Init.WordLength = UART_WORDLENGTH_8B;
  huart1.Init.StopBits = UART_STOPBITS_1;
  huart1.Init.Parity = UART_PARITY_NONE;
  huart1.Init.Mode = UART_MODE_TX_RX;
  huart1.Init.HwFlowCtl = UART_HWCONTROL_NONE;
  huart1.Init.OverSampling = UART_OVERSAMPLING_16;
  if (HAL_UART_Init(&huart1) != HAL_OK)
  {
    Error_Handler();
  }

}

static void MX_USART2_UART_Init(void)
{

  huart2.Instance = USART2;
  huart2.Init.BaudRate = 9600;
  huart2.Init.WordLength = UART_WORDLENGTH_8B;
  huart2.Init.StopBits = UART_STOPBITS_1;
  huart2.Init.Parity = UART_PARITY_NONE;
  huart2.Init.Mode = UART_MODE_TX_RX;
  huart2.Init.HwFlowCtl = UART_HWCONTROL_NONE;
  huart2.Init.OverSampling = UART_OVERSAMPLING_16;
  if (HAL_UART_Init(&huart2) != HAL_OK)
  {
    Error_Handler();
  }

}

static void MX_DMA_Init(void)
{

  /* DMA controller clock enable */
  __HAL_RCC_DMA1_CLK_ENABLE();

  /* DMA interrupt init */
  /* DMA1_Stream0_IRQn interrupt configuration */
  HAL_NVIC_SetPriority(DMA1_Stream0_IRQn, 0, 0);
  HAL_NVIC_EnableIRQ(DMA1_Stream0_IRQn);
  /* DMA1_Stream5_IRQn interrupt configuration */
  HAL_NVIC_SetPriority(DMA1_Stream5_IRQn, 0, 0);
  HAL_NVIC_EnableIRQ(DMA1_Stream5_IRQn);
  /* DMA1_Stream6_IRQn interrupt configuration */
  HAL_NVIC_SetPriority(DMA1_Stream6_IRQn, 0, 0);
  HAL_NVIC_EnableIRQ(DMA1_Stream6_IRQn);
  /* DMA1_Stream7_IRQn interrupt configuration */
  HAL_NVIC_SetPriority(DMA1_Stream7_IRQn, 0, 0);
  HAL_NVIC_EnableIRQ(DMA1_Stream7_IRQn);

}

static void MX_GPIO_Init(void)
{
  GPIO_InitTypeDef GPIO_InitStruct = {0};

  /* GPIO Ports Clock Enable */
  __HAL_RCC_GPIOE_CLK_ENABLE();
  __HAL_RCC_GPIOH_CLK_ENABLE();
  __HAL_RCC_GPIOA_CLK_ENABLE();
  __HAL_RCC_GPIOB_CLK_ENABLE();
  __HAL_RCC_GPIOD_CLK_ENABLE();
  __HAL_RCC_GPIOC_CLK_ENABLE();

  /*Configure GPIO pin Output Level */
  HAL_GPIO_WritePin(GPIOE, ADCS2_Pin|ADCS3_Pin|FAIL_RED_Pin|FAIL_GRN_Pin
                          |CH1_Pin|CH2_Pin|ADCS0_Pin|ADCS1_Pin, GPIO_PIN_RESET);

  /*Configure GPIO pin Output Level */
  HAL_GPIO_WritePin(GPIOB, LINK_YEL_Pin|LINK_GRN_Pin, GPIO_PIN_RESET);

  /*Configure GPIO pin Output Level */
  HAL_GPIO_WritePin(GPIOD, CH3_Pin|CH4_Pin|CH5_Pin|CH6_Pin, GPIO_PIN_RESET);

  /*Configure GPIO pin Output Level */
  HAL_GPIO_WritePin(GPIOC, CH7_Pin|CH8_Pin|CH9_Pin|CH10_Pin, GPIO_PIN_RESET);

  /*Configure GPIO pins : ADCS2_Pin ADCS3_Pin ADCS0_Pin ADCS1_Pin */
  GPIO_InitStruct.Pin = ADCS2_Pin|ADCS3_Pin|ADCS0_Pin|ADCS1_Pin;
  GPIO_InitStruct.Mode = GPIO_MODE_OUTPUT_PP;
  GPIO_InitStruct.Pull = GPIO_PULLUP;
  GPIO_InitStruct.Speed = GPIO_SPEED_FREQ_LOW;
  HAL_GPIO_Init(GPIOE, &GPIO_InitStruct);

  /*Configure GPIO pins : BRD_ID0_Pin BRD_ID1_Pin */
  GPIO_InitStruct.Pin = BRD_ID0_Pin|BRD_ID1_Pin;
  GPIO_InitStruct.Mode = GPIO_MODE_INPUT;
  GPIO_InitStruct.Pull = GPIO_NOPULL;
  HAL_GPIO_Init(GPIOH, &GPIO_InitStruct);

  /*Configure GPIO pins : LINK_YEL_Pin LINK_GRN_Pin */
  GPIO_InitStruct.Pin = LINK_YEL_Pin|LINK_GRN_Pin;
  GPIO_InitStruct.Mode = GPIO_MODE_OUTPUT_PP;
  GPIO_InitStruct.Pull = GPIO_NOPULL;
  GPIO_InitStruct.Speed = GPIO_SPEED_FREQ_VERY_HIGH;
  HAL_GPIO_Init(GPIOB, &GPIO_InitStruct);

  /*Configure GPIO pins : FAIL_RED_Pin FAIL_GRN_Pin */
  GPIO_InitStruct.Pin = FAIL_RED_Pin|FAIL_GRN_Pin;
  GPIO_InitStruct.Mode = GPIO_MODE_OUTPUT_PP;
  GPIO_InitStruct.Pull = GPIO_PULLDOWN;
  GPIO_InitStruct.Speed = GPIO_SPEED_FREQ_LOW;
  HAL_GPIO_Init(GPIOE, &GPIO_InitStruct);

  /*Configure GPIO pins : CH1_Pin CH2_Pin */
  GPIO_InitStruct.Pin = CH1_Pin|CH2_Pin;
  GPIO_InitStruct.Mode = GPIO_MODE_OUTPUT_PP;
  GPIO_InitStruct.Pull = GPIO_NOPULL;
  GPIO_InitStruct.Speed = GPIO_SPEED_FREQ_LOW;
  HAL_GPIO_Init(GPIOE, &GPIO_InitStruct);

  /*Configure GPIO pins : BT1_Pin BT2_Pin BT4_Pin BT3_Pin */
  GPIO_InitStruct.Pin = BT1_Pin|BT2_Pin|BT4_Pin|BT3_Pin;
  GPIO_InitStruct.Mode = GPIO_MODE_INPUT;
  GPIO_InitStruct.Pull = GPIO_PULLDOWN;
  HAL_GPIO_Init(GPIOE, &GPIO_InitStruct);

  /*Configure GPIO pins : BT5_Pin BT6_Pin */
  GPIO_InitStruct.Pin = BT5_Pin|BT6_Pin;
  GPIO_InitStruct.Mode = GPIO_MODE_INPUT;
  GPIO_InitStruct.Pull = GPIO_NOPULL;
  HAL_GPIO_Init(GPIOB, &GPIO_InitStruct);

  /*Configure GPIO pins : BT7_Pin BT9_Pin BT8_Pin BT10_Pin
                           BRD_ID0D0_Pin BRD_ID1D1_Pin */
  GPIO_InitStruct.Pin = BT7_Pin|BT9_Pin|BT8_Pin|BT10_Pin
                          |BRD_ID0D0_Pin|BRD_ID1D1_Pin;
  GPIO_InitStruct.Mode = GPIO_MODE_INPUT;
  GPIO_InitStruct.Pull = GPIO_NOPULL;
  HAL_GPIO_Init(GPIOD, &GPIO_InitStruct);

  /*Configure GPIO pins : CH3_Pin CH4_Pin CH5_Pin CH6_Pin */
  GPIO_InitStruct.Pin = CH3_Pin|CH4_Pin|CH5_Pin|CH6_Pin;
  GPIO_InitStruct.Mode = GPIO_MODE_OUTPUT_PP;
  GPIO_InitStruct.Pull = GPIO_NOPULL;
  GPIO_InitStruct.Speed = GPIO_SPEED_FREQ_LOW;
  HAL_GPIO_Init(GPIOD, &GPIO_InitStruct);

  /*Configure GPIO pins : CH7_Pin CH8_Pin CH9_Pin CH10_Pin */
  GPIO_InitStruct.Pin = CH7_Pin|CH8_Pin|CH9_Pin|CH10_Pin;
  GPIO_InitStruct.Mode = GPIO_MODE_OUTPUT_PP;
  GPIO_InitStruct.Pull = GPIO_NOPULL;
  GPIO_InitStruct.Speed = GPIO_SPEED_FREQ_LOW;
  HAL_GPIO_Init(GPIOC, &GPIO_InitStruct);

}

/* USER CODE BEGIN 4 */

GPIO led_gpio[10] = {
	{ CH1_GPIO_Port, CH1_Pin },
	{ CH2_GPIO_Port, CH2_Pin },
	{ CH3_GPIO_Port, CH3_Pin },
	{ CH4_GPIO_Port, CH4_Pin },
	{ CH5_GPIO_Port, CH5_Pin },
	{ CH6_GPIO_Port, CH6_Pin },
	{ CH7_GPIO_Port, CH7_Pin },
	{ CH8_GPIO_Port, CH8_Pin },
	{ CH9_GPIO_Port, CH9_Pin },
	{ CH10_GPIO_Port, CH10_Pin }
};

void HAL_TIM_PeriodElapsedCallback(TIM_HandleTypeDef *htim)
{

	_Bool buttonPush;
    if(htim->Instance == TIM7) //check if the interrupt comes from TIM1
        {

           if (semF)
        {sem = mbError((uint8_t*) arr);
                            if (sem)
                            {

                                  uartTx = mbFunkton( arrBool, arrWord, arr, blockMode);

														}

    semF = 0;
         }
        }
//				if(htim->Instance == TIM6)

				/***************************************************/
								if (htim == &htim1)
	{
		static int channel = 0;
		uint32_t rgb;
//	if (!ttr)
//	{
		HAL_GPIO_WritePin (led_gpio[channel].port, led_gpio[channel].pin, 0);

		channel = (channel + 1) % 10;
		rgb = led_rgb[channel];

		HAL_GPIO_WritePin(led_gpio[channel].port, led_gpio[channel].pin, 1);
//		if (ttr ==1)
//		{
//		 rgb = 0x00;
//		}

		htim9.Instance->CCR1 = (rgb >> 16) & 0xff; // RED
		htim9.Instance->CCR2 = (rgb >> 8) & 0xff; 	// GREEN
		htim11.Instance->CCR1 = (rgb >> 0) & 0xff; // BLUE

		if (arrWord[140]== 0)
		{LED_Fail(1);}
		else
		{LED_Fail(2);}

		//******************************************
		 if (blanTest == 1)
			 {if (rlanTest < 2000)
				 {rlanTest++;}
				else
				{blanTest = 0;}
			 }
		else
			{if (rlanTest > 0)
				{rlanTest-- ;}
				else
					{blanTest = 1;}
			}

	 }

	 if (htim == &htim10)
	 {

		 //					/* +++++++++++++++++++++++++++++++++++++++++++++++*/

				//  Режимы работы ПМК
		 arrWord[145] = modeEon;
      if (PMU_Mode == 0)
      {
        uartTx=0;
        blockMode = 1; //2307
              buttonPush=DeltaBool(10000); //30000
              if (buttonPush ==1)
              {
							PMU_Mode=2;
							}
							LED_Link(0);

       }
              //***********************************
       if (PMU_Mode == 1)
              {
                blockMode = 0;

                  if (uartTx==1)
                  {
                  PMU_Mode = 2;
                  }
//                      if (blink < 500)
//                      {
												LED_Link(2);

//                      }
//                      else if (blink <= 1000)
//                      {
//												LED_Link(2);
//                      }
//                      else
//                      {
//												blink = 0; // Перезапуск цикла мигания
//                      }
//                      blink ++;

              }
//              //***********************************
       if (PMU_Mode == 2)
              {  blockMode = 0;

              if (All_buttons_NoPush()==0)  //==0)
              {
                PMU_Mode = 0;
              }

				if (statusMb ==0)
				{

				 if (lanTimer > 50000)
						{
							LED_Link(2);
							arrI2c_T[1]=0;
						}
					else
						{
							lanTimer++;
						}
				}
				else
				{
					statusMb = 0;
					LED_Link(1);
					arrI2c_T[1]=1;
					lanTimer = 0;
				}

              }

                for (int i=0;i<10;i++)
								{
									if (startSett)
									{
										 changSetP[i] = 0;

										 ModeCH(i,arrBool, arrWord, adc_current, 	ch_monitor, modeEon, changSetP);

												alarm_mes = sort(ch_monitor);

												if (arrWord[40+i]==0)
														{set_set[i]=1;}

												if ((arrWord[40+i]==3)|(arrWord[40+i]==4)|(arrWord[40+i]==5))
												{set_set[i] = 0;}

												if (((arrWord[40+i]==2)|(arrWord[40+i]==6) | (arrWord[40+i]==9)) & set_set[i] & changSetP[i])
														{
															if (arrWord[50+i]< (_Rins/16)){arrWord[10+i]=(_Rins/16);}
															else {arrWord[10+i] = arrWord[50+i];}	// текущее значение в уставку

															if (arrWord[60+i]< (_Rins/16)){arrWord[20+i]=(_Rins/16);}
															else {arrWord[20+i] = arrWord[60+i];}

															if (arrWord[70+i]< (_Rloop)){arrWord[30+i]=(_Rloop);}
															else {arrWord[30+i] = arrWord[70+i];}

//															if (arrWord[200+i]< (_setVolt)){arrWord[200+i]=(_setVolt);}
//															else {arrWord[200+i] = arrWord[70+i];}
															arrWord[200+i]=(_setVolt);

														set_set[i] = 0;
														changSetP[i] = 0;
														}
									}
									else
									{
										led_rgb[i]= _Blue; // _Violet;
									}
								}

							}
	 if (htim == &htim14)
	 {

		 // номер шасси задание
					arrI2c_T[4] = arrWord[112]>>8;
					arrI2c_T[5] = arrWord[112];
					arrI2c_T[6] = arrWord[113]>>8;
					arrI2c_T[7] = arrWord[113];
		 // команда - записать
					arrI2c_T[8] = arrWord[114]>>8;
					arrI2c_T[9] = arrWord[114];
// Управление смещением 100 В
					arrI2c_T[11] = alarm_mes; //0xBB; //EON_off; // 1 когда напряжение должно быть снято

//				arrI2c_T[0]= HAL_GPIO_ReadPin(GPIOD, GPIO_PIN_6);  //  adc_current; //test
//				arrI2c_T[1] = arr[1];	//

//							if (RTF == HAL_OK)
//							{
							if (sinR ==0)
							{
								sinT =0;
								for (int i=0; i<100; i++){__ASM("nop");}
								WTF = HAL_I2C_Slave_Transmit_DMA(&hi2c1,arrI2c_T,12);// RTF =
	//						HAL_Delay(100);
								for (int i=0; i<100; i++){__ASM("nop");}
							}
							else
							{
								sinT = 1;
							}
//							}

	//git

							mbAddr = arrI2c_R[0]+ i2cAddr - 1;

							modeEon = arrI2c_R[10];
//							hvAllarm = arrI2c_R[11];

							if((arrWord[140]&2)|(arrWord[140]&4))

							{arrI2c_T[0]=1;}

							else
								{arrI2c_T[0]=0;}

//								arrI2c_T[0] = EON_off;

//							WTF = HAL_I2C_Slave_Transmit_DMA(&hi2c1,masterAddr,5); //arrI2c, 3);
//							for (int i=0; i<100; i++){}

//					slaveWrData=1;
//					while(slaveWrData);

//					RTF = HAL_I2C_Slave_Transmit_IT(&hi2c1,arrI2c, 3); // RTF =
//
//					RTF = HAL_I2C_Master_Receive(&hi2c1,masterAddr, 3);

//					while(1)
//					{
//						if (RTF != HAL_BUSY)
//						{break;}

//					}
	}
	}

void preset_V(void)
{
		ttr = 0;

		MY_FLASH_ReadN (0, res, 400, DATA_TYPE_16);	// чтение всего из флеш

		//		int i;

		for (int i=0; i<10; i++)
		{
			if ((res[40+i] <= 9) & (arrWord[40+i] >82)) // Нужно учесть режимы 6,7,8, 81, 82
			{arrWord[40+i] = res[40+i];}
			else if ((arrWord[40+i]<=9)&(arrWord[40+i] !=res[40+i]))
			{ttr =1;}

			// memory
			if (arrWord[i] 		!=res[i])
				{
					ttr=1;
				}
			if (arrWord[10+i] !=res[10+i])
				{
					ttr=1;
				}
			if (arrWord[20+i] !=res[20+i])
				{
					ttr=1;}
			if (arrWord[30+i] !=res[30+i])
				{
					ttr=1;
				}
				if(arrWord[200+i] != res[200+i])
				{
					ttr=1;
				}
				if(arrWord[i+250] != res[i+250])
				{
					ttr=1;
				}

			if (((arrBool[i+20] & arrBool[i+30] & arrBool[i+40])& arrBool[i+50]) == 1)
			{arrBool[i+60] = 1;}
			else
			{arrBool[i+60] = 0;}

		}
			if (ttr)		// & (PMU_Mode==2)) 230722
		{
			sinM = 1;
			if  (sinT)
			{
					__disable_irq();

					MY_FLASH_WriteN(0,arrWord,400,DATA_TYPE_16); // Запись измененных значений режима и уставок.

					__enable_irq();
				sinM = 0;
				sinR = 0;
			}

		}

}

/* USER CODE END 4 */

void Error_Handler(void)
{
  __disable_irq();
  while (1)
  {
  }
}
